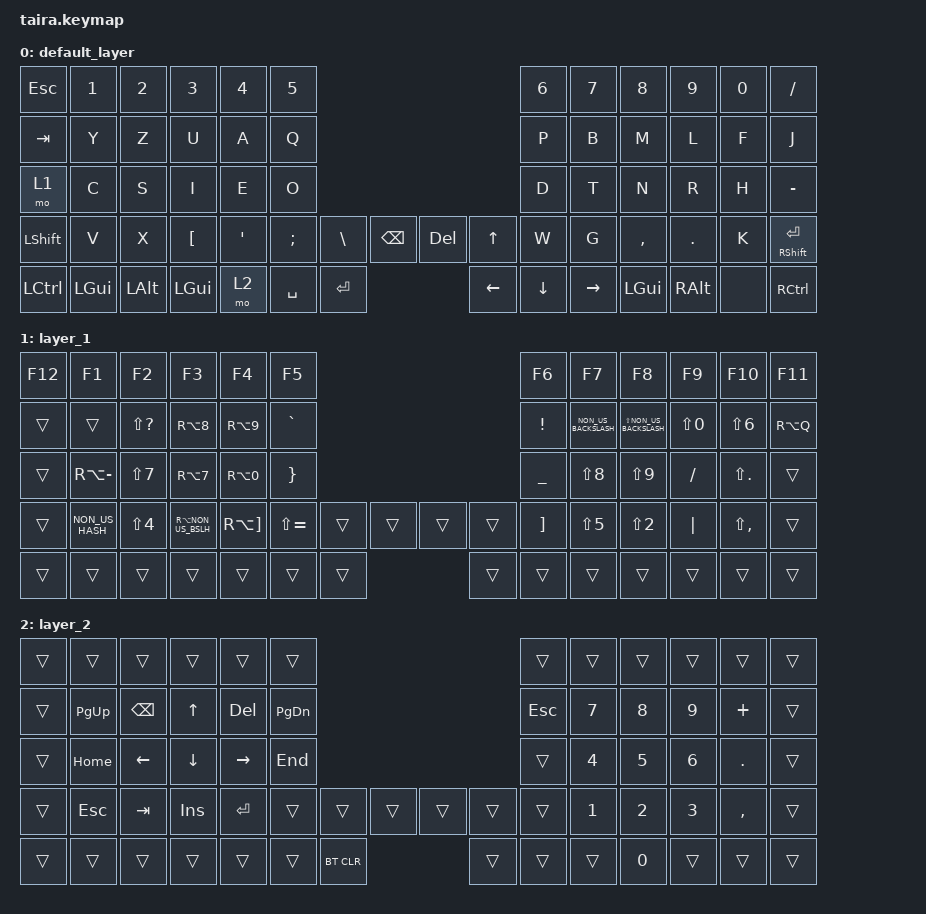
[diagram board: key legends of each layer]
/*
 * Copyright (c) 2020 The ZMK Contributors
 *
 * SPDX-License-Identifier: MIT
 */

#include <behaviors.dtsi>
#include <dt-bindings/zmk/bt.h>
#include <dt-bindings/zmk/keys.h>

#define DEFAULT 0
#define LOWER   1
#define RAISE   2
#define ADJUST  3
#define HYPER   4
#define GAME    5

/ {
    conditional_layers {
        compatible = "zmk,conditional-layers";

        tri_layer {
            if-layers = <1 2>;
            then-layer = <3>;
        };
    };

    keymap {
        compatible = "zmk,keymap";

        default_layer {
            /* QWERTY
 * .----------------------------------------------------------------------------------------------------------------------------------.
 * |  `   |   1  |   2  |   3  |   4  |   5  |                                              |   6  |   7  |   8  |   9  |   0  | PScr |
 * |-------------+------+------+------+------+------+------+-------+-+-------+-------+------+------+------+------+------+------+------|
 * | ESC  |   Q  |   W  |   E  |   R  |   T  |                                              |   Y  |   U  |   I  |   O  |   P  |  \   |
 * |-------------+------+------+------+------+------+------+-------+-+-------+-------+------+------+------+------+------+------+------|
 * | Tab  |   A  |   S  |   D  |   F  |   G  |                                              |   H  |   J  |   K  |   L  |   ;  |  '   |
 * |-------------+------+------+------+------+------+------+-------+-+-------+-------+------+------+------+------+------+------+------|
 * | Shift|   Z  |   X  |   C  |   V  |   B  |      | Del  | PGDN  | | PGUP  | Home  |      |   N  |   M  |   ,  |   .  |   /  | Shift|
 * |-------------+------+------+------+------+------+------+-------+-+-------+-------+------+------+------+------+------+------+------|
 * | Ctrl | Alt  | Meta | Alt  |             | Meta | Space| Lower | | Raise | Enter | RAlt |             | LEFT | DOWN | UP   | RIGHT|
 * .----------------------------------------------------------------------------------------------------------------------------------.
 */

            bindings = <
&kp ESC           &kp N1    &kp N2        &kp N3            &kp N4    &kp N5                                                                                               &kp N6  &kp N7  &kp N8     &kp N9         &kp N0  &kp SLASH
&kp TAB           &kp Y     &kp Z         &kp U             &kp A     &kp Q                                                                                                &kp P   &kp B   &kp M      &kp L          &kp F   &kp J
&mo 1             &kp C     &kp S         &kp I             &kp E     &kp O                                                                                                &kp D   &kp T   &kp N      &kp R          &kp H   &kp MINUS
&kp LSHFT         &kp V     &kp X         &kp LEFT_BRACKET  &kp APOS  &kp SEMICOLON         &kp BACKSLASH  &kp BACKSPACE  &kp DELETE      &kp UP_ARROW                     &kp W   &kp G   &kp COMMA  &kp DOT        &kp K   &mt RSHFT ENTER
&kp LEFT_CONTROL  &kp LGUI  &kp LEFT_ALT  &kp LEFT_GUI                               &mo 2  &kp SPACE      &kp ENTER      &kp LEFT_ARROW  &kp DOWN_ARROW  &kp RIGHT_ARROW                  &kp LGUI   &kp RIGHT_ALT  &none   &kp RIGHT_CONTROL
            >;
        };

        layer_1 {
            bindings = <
&kp F12  &kp F1           &kp F2            &kp F3               &kp F4                 &kp F5                                                           &kp F6             &kp F7                &kp F8                    &kp F9            &kp F10           &kp F11
&trans   &trans           &kp LS(QUESTION)  &kp RA(NUMBER_8)     &kp RA(NUMBER_9)       &kp GRAVE                                                        &kp EXCLAMATION    &kp NON_US_BACKSLASH  &kp LS(NON_US_BACKSLASH)  &kp LS(NUMBER_0)  &kp LS(NUMBER_6)  &kp RA(Q)
&trans   &kp RA(MINUS)    &kp LS(NUMBER_7)  &kp RA(NUMBER_7)     &kp RA(NUMBER_0)       &kp RIGHT_BRACE                                                  &kp UNDERSCORE     &kp LS(NUMBER_8)      &kp LS(NUMBER_9)          &kp SLASH         &kp LS(PERIOD)    &trans
&trans   &kp NON_US_HASH  &kp LS(NUMBER_4)  &kp RA(NON_US_BSLH)  &kp RA(RIGHT_BRACKET)  &kp LS(EQUAL)            &trans  &trans  &trans  &trans          &kp RIGHT_BRACKET  &kp LS(NUMBER_5)      &kp LS(NUMBER_2)          &kp PIPE          &kp LS(COMMA)     &trans
&trans   &trans           &trans            &trans                                                       &trans  &trans  &trans  &trans  &trans  &trans                                           &trans                    &trans            &trans            &trans
            >;
        };

        layer_2 {
            bindings = <
&trans  &trans      &trans    &trans    &trans     &trans                                                         &trans   &trans  &trans  &trans  &trans     &trans
&trans  &kp PG_UP   &kp BSPC  &kp UP    &kp DEL    &kp PG_DN                                                      &kp ESC  &kp N7  &kp N8  &kp N9  &kp PLUS   &trans
&trans  &kp HOME    &kp LEFT  &kp DOWN  &kp RIGHT  &kp END                                                        &trans   &kp N4  &kp N5  &kp N6  &kp DOT    &trans
&trans  &kp ESCAPE  &kp TAB   &kp INS   &kp RET    &trans             &trans  &trans      &trans  &trans          &trans   &kp N1  &kp N2  &kp N3  &kp COMMA  &trans
&trans  &trans      &trans    &trans                          &trans  &trans  &bt BT_CLR  &trans  &trans  &trans                   &kp N0  &trans  &trans     &trans
            >;
        };
    };
};
